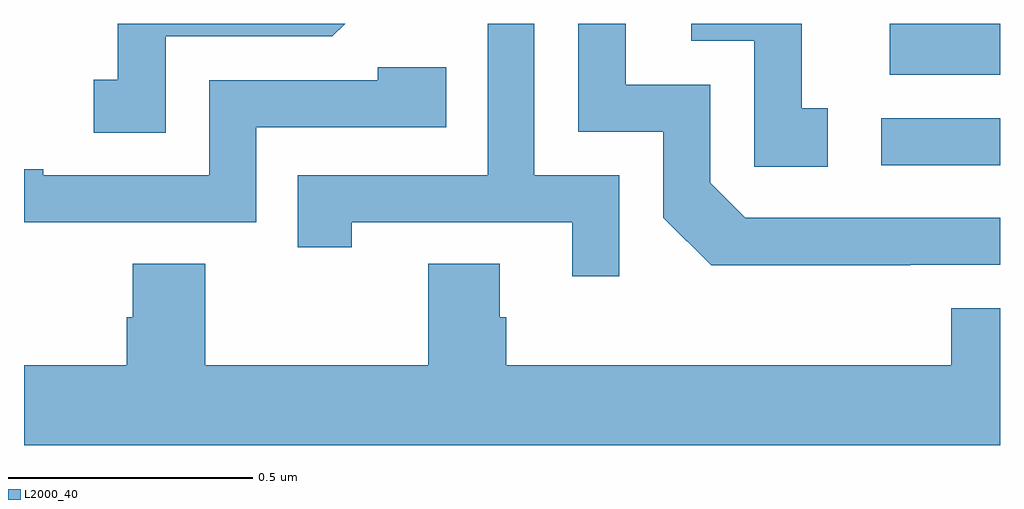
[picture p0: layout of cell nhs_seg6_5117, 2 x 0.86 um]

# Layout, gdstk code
import gdstk
lib = gdstk.Library(unit=1e-6, precision=1e-09)
def R(c, l, rs):  # rectangles x0, y0, x1, y1
    for r in rs: c.add(gdstk.rectangle(r[:2], r[2:], *l))
def P(c, l, *ps):  # polygons
    for p in ps: c.add(gdstk.Polygon(p, *l))
L2000_40 = (2000, 40)

nhs_seg6_5117 = lib.new_cell('nhs_seg6_5117')
R(nhs_seg6_5117, L2000_40, [(179.757,981.21,180,981.306), (179.774,981.395,180,981.5)])
P(nhs_seg6_5117, L2000_40, [(179.647,981.327),(179.594,981.327),(179.594,981.5),(179.367,981.5),(179.367,981.465),(179.496,981.465),(179.496,981.207),(179.647,981.207)],
  [(179.816,981.006),(180,981.006),(180,981.102),(179.478,981.102),(179.406,981.174),(179.406,981.375),(179.233,981.375),(179.233,981.5),(179.136,981.5),(179.136,981.279),(179.31,981.279),(179.31,981.102),(179.408,981.005),(179.816,981.005)],
  [(178.29,981.474),(178.632,981.474),(178.658,981.5),(178.192,981.5),(178.192,981.385),(178.143,981.385),(178.143,981.276),(178.29,981.276)],
  [(179.22,981.189),(179.046,981.189),(179.046,981.5),(178.95,981.5),(178.95,981.189),(178.561,981.189),(178.561,981.042),(178.672,981.042),(178.672,981.093),(179.123,981.093),(179.123,980.982),(179.22,980.982)],
  [(178.476,981.288),(178.865,981.288),(178.865,981.411),(178.725,981.411),(178.725,981.384),(178.38,981.384),(178.38,981.189),(178.039,981.189),(178.039,981.202),(178,981.202),(178,981.093),(178.476,981.093)],
  [(180,980.917),(179.9,980.917),(179.9,980.8),(178.988,980.8),(178.988,980.898),(178.975,980.898),(178.975,981.008),(178.828,981.008),(178.828,980.8),(178.371,980.8),(178.371,981.008),(178.223,981.008),(178.223,980.898),(178.211,980.898),(178.211,980.8),(178,980.8),(178,980.636),(180,980.636)])

lib.write_gds('nhs_seg6_5117.gds')
